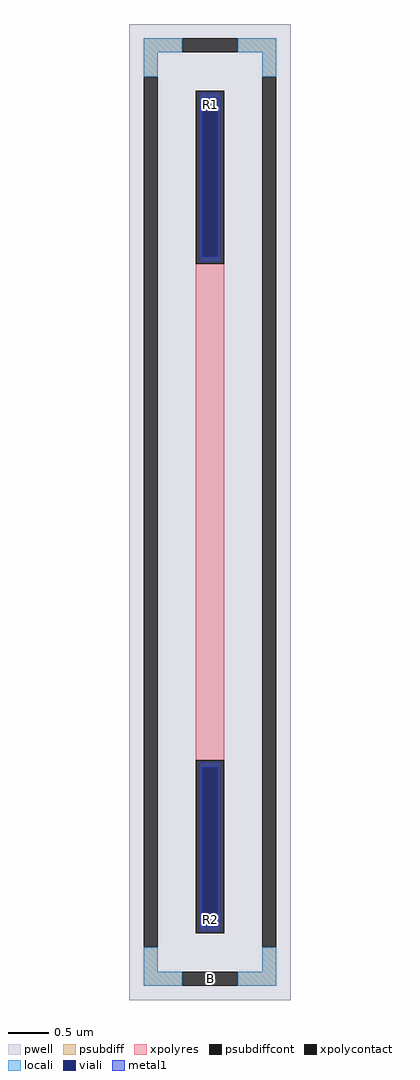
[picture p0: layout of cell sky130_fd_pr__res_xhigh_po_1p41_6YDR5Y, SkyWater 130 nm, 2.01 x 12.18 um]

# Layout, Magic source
magic
tech sky130A
magscale 1 2
<< pwell >>
rect -201 -1218 201 1218
<< psubdiff >>
rect -165 1148 -69 1182
rect 69 1148 165 1182
rect -165 1086 -131 1148
rect 131 1086 165 1148
rect -165 -1148 -131 -1086
rect 131 -1148 165 -1086
rect -165 -1182 -69 -1148
rect 69 -1182 165 -1148
<< psubdiffcont >>
rect -69 1148 69 1182
rect -165 -1086 -131 1086
rect 131 -1086 165 1086
rect -69 -1182 69 -1148
<< xpolycontact >>
rect -35 620 35 1052
rect -35 -1052 35 -620
<< xpolyres >>
rect -35 -620 35 620
<< locali >>
rect -165 1148 -69 1182
rect 69 1148 165 1182
rect -165 1086 -131 1148
rect 131 1086 165 1148
rect -165 -1148 -131 -1086
rect 131 -1148 165 -1086
rect -165 -1182 -69 -1148
rect 69 -1182 165 -1148
<< viali >>
rect -19 637 19 1034
rect -19 -1034 19 -637
<< metal1 >>
rect -25 1034 25 1046
rect -25 637 -19 1034
rect 19 637 25 1034
rect -25 625 25 637
rect -25 -637 25 -625
rect -25 -1034 -19 -637
rect 19 -1034 25 -637
rect -25 -1046 25 -1034
<< labels >>
rlabel psubdiffcont 0 -1165 0 -1165 0 B
port 1 nsew
rlabel xpolycontact 0 1017 0 1017 0 R1
port 2 nsew
rlabel xpolycontact 0 -1017 0 -1017 0 R2
port 3 nsew
<< properties >>
string FIXED_BBOX -148 -1165 148 1165
string gencell sky130_fd_pr__res_xhigh_po_1p41
string library sky130
string parameters w 0.350 l 6.36 m 1 nx 1 wmin 0.350 lmin 0.50 class resistor rho 2000 val 37.418k dummy 0 dw 0.0 term 188.2 sterm 0.0 caplen 0 wmax 0.350 guard 1 glc 1 grc 1 gtc 1 gbc 1 compatible {sky130_fd_pr__res_xhigh_po_0p35  sky130_fd_pr__res_xhigh_po_0p69 sky130_fd_pr__res_xhigh_po_1p41  sky130_fd_pr__res_xhigh_po_2p85 sky130_fd_pr__res_xhigh_po_5p73} snake 0 full_metal 1 n_guard 0 hv_guard 0 vias 1 viagb 0 viagt 0 viagl 0 viagr 0 doports 1
<< end >>
